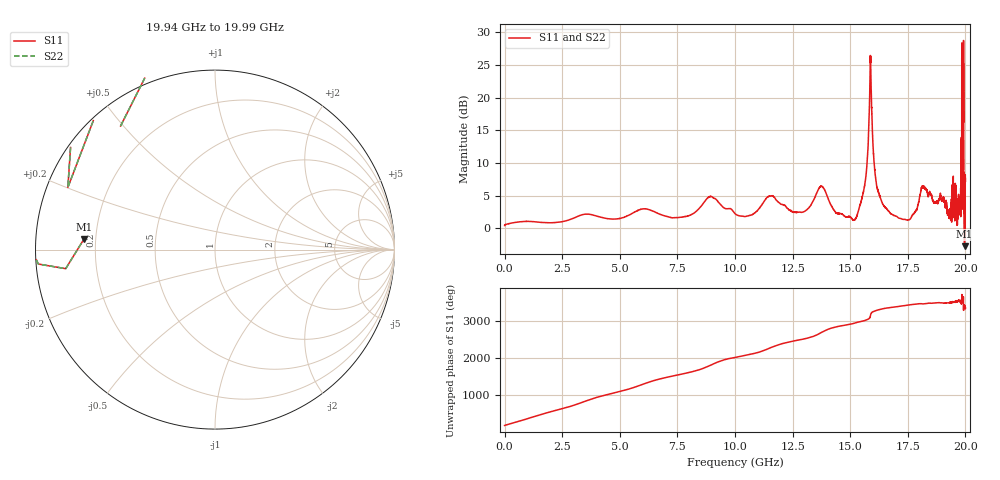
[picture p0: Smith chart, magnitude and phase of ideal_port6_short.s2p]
! Created with skrf (http://scikit-rf.org).
# GHz S RI R 50.0
!freq ReS11 ImS11 ReS21 ImS21 ReS12 ImS12 ReS22 ImS22
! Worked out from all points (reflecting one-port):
!   10001 points, 1 MHz to 20 GHz, reference 50 ohm
!   lowest |S11| = -2.7 dB at 19.96 GHz (marker M1), VSWR 6.47, Z = 7.74 + j1.96 ohm
!   phase of S11 starts at 179 deg and turns +3162 deg over the sweep
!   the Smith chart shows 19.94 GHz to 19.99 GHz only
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0.001  -1.054 0.0118  0 0  0 0  -1.054 0.0118
2.552872  0.1548 -1.123  0 0  0 0  0.1548 -1.123
3.334833  0.3615 1.217  0 0  0 0  0.3615 1.217
5.896705  -1.393 -0.1165  0 0  0 0  -1.393 -0.1165
6.668667  1.219 -0.4529  0 0  0 0  1.219 -0.4529
7.536623  -0.245 1.188  0 0  0 0  -0.245 1.188
8.650567  0.3572 -1.539  0 0  0 0  0.3572 -1.539
9.246538  0.1155 1.614  0 0  0 0  0.1155 1.614
10.0005  -1.128 -0.6463  0 0  0 0  -1.128 -0.6463
12.39838  0.0696 -1.373  0 0  0 0  0.0696 -1.373
13.33433  1.126 1.072  0 0  0 0  1.126 1.072
13.79431  -2.092 0.0626  0 0  0 0  -2.092 0.0626
15.14624  0.8062 0.8296  0 0  0 0  0.8062 0.8296
15.69622  -1.956 1.803  0 0  0 0  -1.956 1.803
15.78221  -4.283 1.369  0 0  0 0  -4.283 1.369
15.9162  8.602 -6.473  0 0  0 0  8.602 -6.473
15.9842  4.509 -0.0152  0 0  0 0  4.509 -0.0152
16.0742  2.495 1.02  0 0  0 0  2.495 1.02
16.66817  -0.3887 1.302  0 0  0 0  -0.3887 1.302
19.74801  0.131 -1.268  0 0  0 0  0.131 -1.268
19.962  -0.73 0.0588  0 0  0 0  -0.73 0.0588
20  -0.4575 2.367  0 0  0 0  -0.4575 2.367
